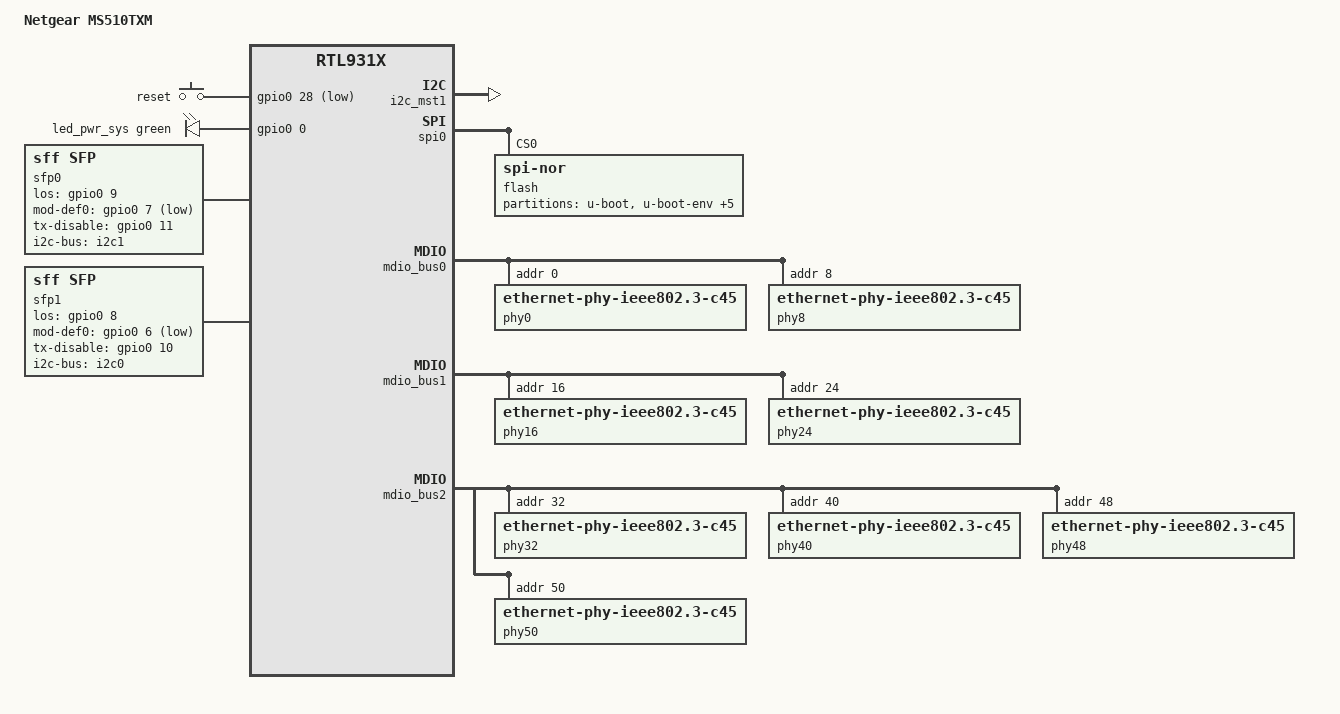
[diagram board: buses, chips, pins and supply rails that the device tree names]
// SPDX-License-Identifier: GPL-2.0-or-later
/dts-v1/;

#include "rtl931x.dtsi"

#include <dt-bindings/input/input.h>
#include <dt-bindings/gpio/gpio.h>
#include <dt-bindings/leds/common.h>

/ {
	compatible = "netgear,ms510txm", "realtek,rtl931x-soc";
	model = "Netgear MS510TXM";

	chosen {
		bootargs = "earlycon ignore_loglevel";
	};

	keys {
		compatible = "gpio-keys";

		mode {
			label = "reset";
			gpios = <&gpio0 28 GPIO_ACTIVE_LOW>;
			linux,code = <KEY_RESTART>;
		};
	};

	leds {
		compatible = "gpio-leds";

		//pinctrl-names = "default";
		//pinctrl-0 = <&pinmux_disable_sys_led>;

		led_pwr_sys: led-0 {
			color = <LED_COLOR_ID_GREEN>;
			function = LED_FUNCTION_POWER;
			gpios = <&gpio0 0 GPIO_ACTIVE_HIGH>;
		};
	};

	sfp0: sfp-p1 {
		compatible = "sff,sfp";
		i2c-bus = <&i2c1>;
		los-gpio = <&gpio0 9 GPIO_ACTIVE_HIGH>;
		mod-def0-gpio = <&gpio0 7 GPIO_ACTIVE_LOW>;
		tx-disable-gpio = <&gpio0 11 GPIO_ACTIVE_HIGH>;
	};

	sfp1: sfp-p2 {
		compatible = "sff,sfp";
		i2c-bus = <&i2c0>;
		los-gpio = <&gpio0 8 GPIO_ACTIVE_HIGH>;
		mod-def0-gpio = <&gpio0 6 GPIO_ACTIVE_LOW>;
		tx-disable-gpio = <&gpio0 10 GPIO_ACTIVE_HIGH>;
	};

	led_set: led_set {
		compatible = "realtek,rtl9300-leds";
		active-low;

		// LED set 0:
		// Yellow: 1000M/100M
		// Green: 2.5G
		led_set0 = <0x0aa0 0x0a08>;

		// LED set 1:
		// Yellow: 5G/2.5G/1000M/100M
		// Green: 10G
		led_set1 = <0x0aaa 0x0a01>;

		// LED set 2:
		// Yellow: 1G
		// Green: 10G
		led_set2 = <0x0a20 0x0a01>;
	};
};

&i2c_mst1 {
	status = "okay";

	i2c0: i2c@0 {
		reg = <0>;
	};
	i2c1: i2c@1 {
		reg = <1>;
	};
};

&spi0 {
	status = "okay";

	flash@0 {
		compatible = "jedec,spi-nor";
		reg = <0>;

		partitions {
			compatible = "fixed-partitions";
			#address-cells = <1>;
			#size-cells = <1>;

			partition@0 {
				label = "u-boot";
				reg = <0x0 0xe0000>;
				read-only;
			};
			partition@1 {
				label = "u-boot-env";
				reg = <0xe0000 0x10000>;
			};
			partition@2 {
				label = "u-boot-env2";
				reg = <0xf0000 0x10000>;
				read-only;
			};
			partition@3 {
				label = "jffs2-cfg";
				reg = <0x100000 0x100000>;
			};
			partition@4 {
				label = "jffs2-log";
				reg = <0x200000 0x100000>;
			};
			partition@5 {
				label = "firmware";
				reg = <0x300000 0xe80000>;
			};
			partition@6 {
				label = "firmware2";
				reg = <0x1180000 0xe80000>;
			};
		};
	};
};

&mdio_bus0 {

	/* External RTL8221Bs */
	phy0: ethernet-phy@0 {
		reg = <0>;
		compatible = "ethernet-phy-ieee802.3-c45";
		realtek,smi-address = <1>;
	};
	phy8: ethernet-phy@8 {
		reg = <8>;
		compatible = "ethernet-phy-ieee802.3-c45";
		realtek,smi-address = <2>;
	};
};

&mdio_bus1 {
	phy16: ethernet-phy@16 {
		reg = <16>;
		compatible = "ethernet-phy-ieee802.3-c45";
		realtek,smi-address = <3>;
	};
	phy24: ethernet-phy@24 {
		reg = <24>;
		compatible = "ethernet-phy-ieee802.3-c45";
		realtek,smi-address = <4>;
	};
};

&mdio_bus2 {
	/* External BCM84888 */
	phy32: ethernet-phy@32 {
		reg = <32>;
		compatible = "ethernet-phy-ieee802.3-c45";
		realtek,smi-address = <5>;
	};
	phy40: ethernet-phy@40 {
		reg = <40>;
		compatible = "ethernet-phy-ieee802.3-c45";
		realtek,smi-address = <6>;
	};
	phy48: ethernet-phy@48 {
		reg = <48>;
		compatible = "ethernet-phy-ieee802.3-c45";
		realtek,smi-address = <7>;
	};
	phy50: ethernet-phy@50 {
		reg = <50>;
		compatible = "ethernet-phy-ieee802.3-c45";
		realtek,smi-address = <8>;
	};
};

&switch0 {
	ports {
		#address-cells = <1>;
		#size-cells = <0>;

		/* RTL8221B 2.5GBase-T ports */
		port0: port@0 {
			reg = <0>;
			label = "lan1";
			led-set = <0>;
			managed = "in-band-status";
			pcs-handle = <&serdes2>;
			phy-handle = <&phy0>;
			phy-mode = "sgmii";
		};
		port8: port@8 {
			reg = <8>;
			label = "lan2";
			led-set = <0>;
			managed = "in-band-status";
			pcs-handle = <&serdes3>;
			phy-handle = <&phy8>;
			phy-mode = "sgmii";
		};
		port16: port@16 {
			reg = <16>;
			label = "lan3";
			led-set = <0>;
			managed = "in-band-status";
			pcs-handle = <&serdes4>;
			phy-handle = <&phy16>;
			phy-mode = "sgmii";
		};
		port24: port@24 {
			reg = <24>;
			label = "lan4";
			led-set = <0>;
			managed = "in-band-status";
			pcs-handle = <&serdes5>;
			phy-handle = <&phy24>;
			phy-mode = "sgmii";
		};

		/* 10GBase-T ports */
		port32: port@32 {
			reg = <32>;
			label = "lan5";
			led-set = <1>;
			pcs-handle = <&serdes6>;
			phy-handle = <&phy32>;
			phy-mode = "usxgmii";
		};
		port40: port@40 {
			reg = <40>;
			label = "lan6";
			led-set = <1>;
			pcs-handle = <&serdes7>;
			phy-handle = <&phy40>;
			phy-mode = "usxgmii";
		};
		port48: port@48 {
			reg = <48>;
			label = "lan7";
			led-set = <1>;
			pcs-handle = <&serdes8>;
			phy-handle = <&phy48>;
			phy-mode = "usxgmii";
		};
		port50: port@50 {
			reg = <50>;
			label = "lan8";
			led-set = <1>;
			pcs-handle = <&serdes9>;
			phy-handle = <&phy50>;
			phy-mode = "usxgmii";
		};

		/* SFP ports */
		port54: port@54 {
			reg = <54>;
			label = "lan9";
			led-set = <2>;
			managed = "in-band-status";
			pcs-handle = <&serdes12>;
			phy-mode = "1000base-x";
			sfp = <&sfp0>;
		};
		port55: port@55 {
			reg = <55>;
			label = "lan10";
			led-set = <2>;
			managed = "in-band-status";
			pcs-handle = <&serdes13>;
			phy-mode = "1000base-x";
			sfp = <&sfp1>;
		};

		/* CPU port */
		port@56 {
			ethernet = <&ethernet0>;
			reg = <56>;
			phy-mode = "internal";
			fixed-link {
				speed = <1000>;
				full-duplex;
			};
		};
	};
};

&serdes2 {
	realtek,pnswap-tx;
};

&serdes3 {
	realtek,pnswap-tx;
};

&serdes4 {
	realtek,pnswap-tx;
};

&serdes5 {
	realtek,pnswap-tx;
};

&serdes6 {
	realtek,pnswap-rx;
};

&serdes7 {
	realtek,pnswap-tx;
};

&serdes8 {
	realtek,pnswap-rx;
};

&serdes9 {
	realtek,pnswap-tx;
};

&serdes12 {
	realtek,pnswap-tx;
};

&serdes13 {
	realtek,pnswap-tx;
};
